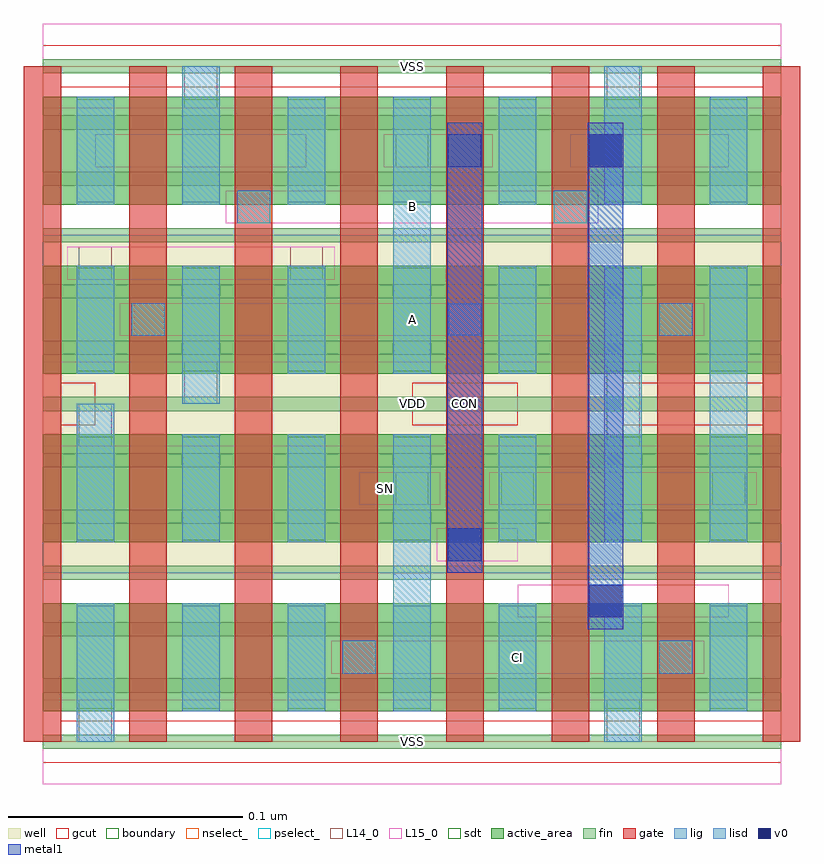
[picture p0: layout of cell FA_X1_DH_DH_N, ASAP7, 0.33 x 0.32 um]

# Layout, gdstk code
import gdstk
lib = gdstk.Library(unit=1e-6, precision=2.5e-10)
def R(c, l, rs):  # rectangles x0, y0, x1, y1
    for r in rs: c.add(gdstk.rectangle(r[:2], r[2:], *l))
def A(c, l, x, y, w, h, nx, ny, dx, dy):  # array of equal rectangles
    R(c, l, [(x+i*dx, y+j*dy, x+i*dx+w, y+j*dy+h) for i in range(nx) for j in range(ny)])
def P(c, l, *ps):  # polygons
    for p in ps: c.add(gdstk.Polygon(p, *l))
well = (1, 0)
fin = (2, 0)
gate = (7, 0)
gcut = (10, 0)
active_area = (11, 0)
nselect_ = (12, 0)
pselect_ = (13, 0)
L14_0 = (14, 0)
L15_0 = (15, 0)
lig = (16, 0)
lisd = (17, 0)
v0 = (18, 0)
metal1 = (19, 0)
sdt = (88, 0)
boundary = (100, 0)

fa_x1_dh_dh_n = lib.new_cell('FA_X1_DH_DH_N')
R(fa_x1_dh_dh_n, well, [(0,0.072,0.315,0.144), (0,0.144,0.315,0.216)])
A(fa_x1_dh_dh_n, fin, 0, -0.003, 0.315, 0.006, 1, 13, 0, 0.024)
A(fa_x1_dh_dh_n, gate, -0.008, 0, 0.016, 0.288, 8, 1, 0.045, 0)
R(fa_x1_dh_dh_n, gcut, [(0.1575,0.135,0.2025,0.153)])
P(fa_x1_dh_dh_n, gcut, [(0,-0.009),(0,0),(-0.008,0),(-0.008,0.279),(0.008,0.279),(0.008,0.153),(0.0225,0.153),(0.0225,0.135),(0.008,0.135),(0.008,0.009),(0.307,0.009),(0.307,0.135),(0.2475,0.135),(0.2475,0.153),(0.307,0.153),(0.307,0.279),(-0.008,0.279),(-0.008,0.288),(0,0.288),(0,0.297),(0.315,0.297),(0.315,0.288),(0.323,0.288),(0.323,0),(0.315,0),(0.315,-0.009)])
A(fa_x1_dh_dh_n, active_area, 0, 0.013, 0.315, 0.046, 1, 4, 0, 0.072)
R(fa_x1_dh_dh_n, nselect_, [(0,0,0.315,0.072), (0,0.216,0.315,0.288)])
R(fa_x1_dh_dh_n, pselect_, [(0,0.072,0.315,0.144), (0,0.144,0.315,0.216)])
R(fa_x1_dh_dh_n, L14_0, [(0.0155,0,0.0295,0.018), (0.2405,0,0.2545,0.018), (0.128,0.029,0.142,0.043), (0.263,0.029,0.277,0.043), (0.173,0.077,0.187,0.091), (0.1505,0.101,0.1645,0.115), (0.1955,0.101,0.2095,0.115), (0.2855,0.101,0.2995,0.115), (0.0155,0.126,0.0295,0.144), (0.2405,0.126,0.2545,0.144), (0.0605,0.144,0.0745,0.162), (0.2405,0.144,0.2545,0.162), (0.038,0.173,0.052,0.187), (0.173,0.173,0.187,0.187), (0.263,0.173,0.277,0.187), (0.0155,0.197,0.0295,0.211), (0.1055,0.197,0.1195,0.211), (0.083,0.221,0.097,0.235), (0.218,0.221,0.232,0.235), (0.1505,0.245,0.1645,0.259), (0.0605,0.27,0.0745,0.288), (0.2405,0.27,0.2545,0.288)])
A(fa_x1_dh_dh_n, L15_0, 0, -0.018, 0.315, 0.036, 1, 3, 0, 0.144)
R(fa_x1_dh_dh_n, L15_0, [(0.123,0.029,0.282,0.043), (0.2025,0.053,0.2925,0.067), (0.168,0.077,0.2025,0.091), (0.135,0.101,0.1695,0.115), (0.1905,0.101,0.3045,0.115), (0.033,0.173,0.282,0.187), (0.0105,0.197,0.1245,0.211), (0.078,0.221,0.237,0.235), (0.0225,0.245,0.1125,0.259), (0.1455,0.245,0.192,0.259), (0.225,0.245,0.2925,0.259)])
R(fa_x1_dh_dh_n, lig, [(0.128,0.029,0.142,0.043), (0.263,0.029,0.277,0.043), (0.173,0.077,0.187,0.091), (0.038,0.173,0.052,0.187), (0.173,0.173,0.187,0.187), (0.263,0.173,0.277,0.187), (0.083,0.221,0.097,0.235), (0.218,0.221,0.232,0.235)])
A(fa_x1_dh_dh_n, lisd, 0.1045, 0.013, 0.016, 0.046, 3, 1, 0.09, 0)
A(fa_x1_dh_dh_n, lisd, 0.0145, 0.157, 0.016, 0.046, 3, 1, 0.09, 0)
A(fa_x1_dh_dh_n, lisd, 0.0145, 0.229, 0.016, 0.046, 4, 1, 0.09, 0)
R(fa_x1_dh_dh_n, lisd, [(0.0145,0,0.0305,0.059), (0.2395,0,0.2555,0.059), (0.0595,0.013,0.0755,0.059), (0.1495,0.013,0.1655,0.131), (0.0145,0.085,0.0305,0.144), (0.0595,0.085,0.0755,0.131), (0.1045,0.085,0.1205,0.131), (0.1945,0.085,0.2105,0.131), (0.2395,0.085,0.2555,0.203), (0.2845,0.085,0.3005,0.203), (0.0595,0.144,0.0755,0.203), (0.1495,0.157,0.1655,0.275), (0.0595,0.229,0.0755,0.288), (0.2395,0.229,0.2555,0.288)])
R(fa_x1_dh_dh_n, v0, [(0.233,0.053,0.247,0.067), (0.173,0.077,0.187,0.091), (0.173,0.245,0.187,0.259), (0.233,0.245,0.247,0.259)])
R(fa_x1_dh_dh_n, metal1, [(0.2325,0.048,0.2475,0.264), (0.1725,0.072,0.1875,0.264)])
A(fa_x1_dh_dh_n, sdt, 0.0145, 0.014, 0.016, 0.044, 7, 4, 0.045, 0.072)
R(fa_x1_dh_dh_n, boundary, [(0,0,0.315,0.288)])
fa_x1_dh_dh_n.add(gdstk.Label('A', (0.1575,0.18), layer=15, texttype=251))
fa_x1_dh_dh_n.add(gdstk.Label('VSS', (0.1575,0), layer=15, texttype=251))
fa_x1_dh_dh_n.add(gdstk.Label('VDD', (0.1575,0.144), layer=15, texttype=251))
fa_x1_dh_dh_n.add(gdstk.Label('VDD', (0.1575,0.144), layer=15, texttype=251))
fa_x1_dh_dh_n.add(gdstk.Label('VSS', (0.1575,0.288), layer=15, texttype=251))
fa_x1_dh_dh_n.add(gdstk.Label('B', (0.1575,0.228), layer=15, texttype=251))
fa_x1_dh_dh_n.add(gdstk.Label('VSS', (0.1575,0), layer=15, texttype=251))
fa_x1_dh_dh_n.add(gdstk.Label('VDD', (0.1575,0.144), layer=15, texttype=251))
fa_x1_dh_dh_n.add(gdstk.Label('VDD', (0.1575,0.144), layer=15, texttype=251))
fa_x1_dh_dh_n.add(gdstk.Label('VSS', (0.1575,0.288), layer=15, texttype=251))
fa_x1_dh_dh_n.add(gdstk.Label('SN', (0.1462,0.108), layer=15, texttype=251))
fa_x1_dh_dh_n.add(gdstk.Label('VSS', (0.1575,0), layer=15, texttype=251))
fa_x1_dh_dh_n.add(gdstk.Label('VDD', (0.1575,0.144), layer=15, texttype=251))
fa_x1_dh_dh_n.add(gdstk.Label('VDD', (0.1575,0.144), layer=15, texttype=251))
fa_x1_dh_dh_n.add(gdstk.Label('VSS', (0.1575,0.288), layer=15, texttype=251))
fa_x1_dh_dh_n.add(gdstk.Label('VSS', (0.1575,0), layer=15, texttype=251))
fa_x1_dh_dh_n.add(gdstk.Label('VDD', (0.1575,0.144), layer=15, texttype=251))
fa_x1_dh_dh_n.add(gdstk.Label('VDD', (0.1575,0.144), layer=15, texttype=251))
fa_x1_dh_dh_n.add(gdstk.Label('VSS', (0.1575,0.288), layer=15, texttype=251))
fa_x1_dh_dh_n.add(gdstk.Label('CI', (0.2025,0.036), layer=15, texttype=251))
fa_x1_dh_dh_n.add(gdstk.Label('VSS', (0.1575,0), layer=15, texttype=251))
fa_x1_dh_dh_n.add(gdstk.Label('VDD', (0.1575,0.144), layer=15, texttype=251))
fa_x1_dh_dh_n.add(gdstk.Label('VDD', (0.1575,0.144), layer=15, texttype=251))
fa_x1_dh_dh_n.add(gdstk.Label('VSS', (0.1575,0.288), layer=15, texttype=251))
fa_x1_dh_dh_n.add(gdstk.Label('VSS', (0.1575,0), layer=3, texttype=251))
fa_x1_dh_dh_n.add(gdstk.Label('VSS', (0.1575,0.288), layer=3, texttype=251))
fa_x1_dh_dh_n.add(gdstk.Label('VSS', (0.1575,0), layer=3, texttype=251))
fa_x1_dh_dh_n.add(gdstk.Label('VSS', (0.1575,0.288), layer=3, texttype=251))
fa_x1_dh_dh_n.add(gdstk.Label('VSS', (0.1575,0), layer=3, texttype=251))
fa_x1_dh_dh_n.add(gdstk.Label('VSS', (0.1575,0.288), layer=3, texttype=251))
fa_x1_dh_dh_n.add(gdstk.Label('VSS', (0.1575,0), layer=3, texttype=251))
fa_x1_dh_dh_n.add(gdstk.Label('VSS', (0.1575,0.288), layer=3, texttype=251))
fa_x1_dh_dh_n.add(gdstk.Label('VSS', (0.1575,0), layer=3, texttype=251))
fa_x1_dh_dh_n.add(gdstk.Label('VSS', (0.1575,0.288), layer=3, texttype=251))
fa_x1_dh_dh_n.add(gdstk.Label('VDD', (0.1575,0.144), layer=1, texttype=251))
fa_x1_dh_dh_n.add(gdstk.Label('VDD', (0.1575,0.144), layer=1, texttype=251))
fa_x1_dh_dh_n.add(gdstk.Label('VDD', (0.1575,0.144), layer=1, texttype=251))
fa_x1_dh_dh_n.add(gdstk.Label('VDD', (0.1575,0.144), layer=1, texttype=251))
fa_x1_dh_dh_n.add(gdstk.Label('VDD', (0.1575,0.144), layer=1, texttype=251))
fa_x1_dh_dh_n.add(gdstk.Label('VDD', (0.1575,0.144), layer=1, texttype=251))
fa_x1_dh_dh_n.add(gdstk.Label('VDD', (0.1575,0.144), layer=1, texttype=251))
fa_x1_dh_dh_n.add(gdstk.Label('VDD', (0.1575,0.144), layer=1, texttype=251))
fa_x1_dh_dh_n.add(gdstk.Label('VDD', (0.1575,0.144), layer=1, texttype=251))
fa_x1_dh_dh_n.add(gdstk.Label('VDD', (0.1575,0.144), layer=1, texttype=251))
fa_x1_dh_dh_n.add(gdstk.Label('CON', (0.18,0.144), layer=19, texttype=251))

lib.write_gds('FA_X1_DH_DH_N.gds')
